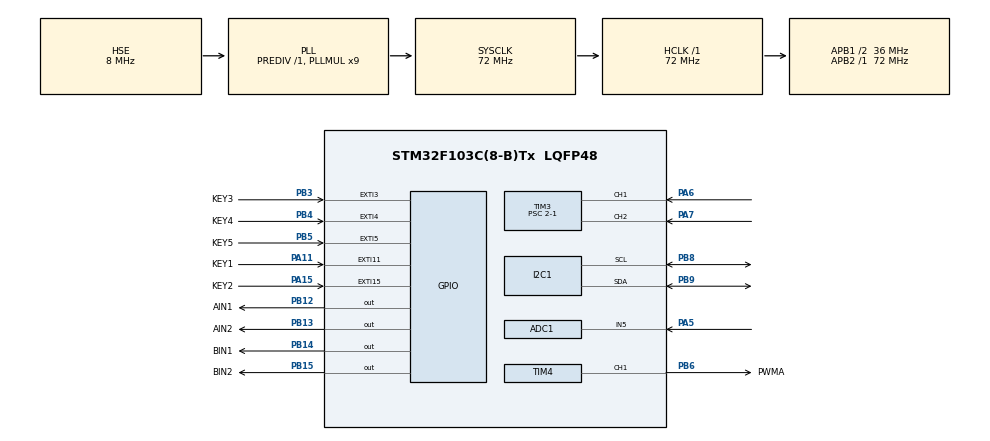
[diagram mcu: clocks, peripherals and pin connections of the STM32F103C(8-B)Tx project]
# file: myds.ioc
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ADC1.Channel-3\#ChannelRegularConversion=ADC_CHANNEL_5
ADC1.ContinuousConvMode=ENABLE
ADC1.NbrOfConversionFlag=1
ADC1.Rank-3\#ChannelRegularConversion=1
ADC1.SamplingTime-3\#ChannelRegularConversion=ADC_SAMPLETIME_1CYCLE_5
ADC1.master=1
I2C1.I2C_Mode=I2C_Fast
Mcu.Family=STM32F1
Mcu.Name=STM32F103C(8-B)Tx
Mcu.Package=LQFP48
NVIC.EXTI15_10_IRQn=true\:0\:0\:false\:false\:true\:true\:true\:true
NVIC.EXTI3_IRQn=true\:0\:0\:false\:false\:true\:true\:true\:true
NVIC.EXTI4_IRQn=true\:0\:0\:false\:false\:true\:true\:true\:true
NVIC.EXTI9_5_IRQn=true\:0\:0\:false\:false\:true\:true\:true\:true
NVIC.PriorityGroup=NVIC_PRIORITYGROUP_4
NVIC.TIM2_IRQn=true\:0\:0\:false\:false\:true\:true\:true\:true
PA11.GPIO_Label=KEY1
PA11.GPIO_ModeDefaultEXTI=GPIO_MODE_IT_FALLING
PA11.GPIO_PuPd=GPIO_PULLUP
PA11.Signal=GPXTI11
PA13.Mode=Serial_Wire
PA13.Signal=SYS_JTMS-SWDIO
PA14.Mode=Serial_Wire
PA14.Signal=SYS_JTCK-SWCLK
PA15.GPIO_Label=KEY2
PA15.GPIO_ModeDefaultEXTI=GPIO_MODE_IT_FALLING
PA15.GPIO_PuPd=GPIO_PULLUP
PA15.Signal=GPXTI15
PA5.Signal=ADCx_IN5
PA6.Signal=S_TIM3_CH1
PA7.Signal=S_TIM3_CH2
PB12.GPIO_Label=AIN1
PB12.Signal=GPIO_Output
PB13.GPIO_Label=AIN2
PB13.Signal=GPIO_Output
PB14.GPIO_Label=BIN1
PB14.Signal=GPIO_Output
PB15.GPIO_Label=BIN2
PB15.Signal=GPIO_Output
PB3.GPIO_Label=KEY3
PB3.GPIO_ModeDefaultEXTI=GPIO_MODE_IT_FALLING
PB3.GPIO_PuPd=GPIO_PULLUP
PB3.Signal=GPXTI3
PB4.GPIO_Label=KEY4
PB4.GPIO_ModeDefaultEXTI=GPIO_MODE_IT_FALLING
PB4.GPIO_PuPd=GPIO_PULLUP
PB4.Signal=GPXTI4
PB5.GPIO_Label=KEY5
PB5.GPIO_ModeDefaultEXTI=GPIO_MODE_IT_FALLING
PB5.GPIO_PuPd=GPIO_PULLUP
PB5.Signal=GPXTI5
PB6.GPIO_Label=PWMA
PB6.Signal=S_TIM4_CH1
PB8.Mode=I2C
PB8.Signal=I2C1_SCL
PB9.Mode=I2C
PB9.Signal=I2C1_SDA
PD0-OSC_IN.Mode=HSE-External-Oscillator
PD0-OSC_IN.Signal=RCC_OSC_IN
PD1-OSC_OUT.Mode=HSE-External-Oscillator
PD1-OSC_OUT.Signal=RCC_OSC_OUT
ProjectManager.HeapSize=0x200
ProjectManager.StackSize=0x400
ProjectManager.TargetToolchain=STM32CubeIDE
RCC.ADCPresc=RCC_ADCPCLK2_DIV6
RCC.AHBFreq_Value=72000000
RCC.APB1CLKDivider=RCC_HCLK_DIV2
RCC.APB1Freq_Value=36000000
RCC.APB1TimFreq_Value=72000000
RCC.APB2Freq_Value=72000000
RCC.APB2TimFreq_Value=72000000
RCC.HCLKFreq_Value=72000000
RCC.PLLMUL=RCC_PLL_MUL9
RCC.PLLSourceVirtual=RCC_PLLSOURCE_HSE
RCC.SYSCLKFreq_VALUE=72000000
RCC.SYSCLKSource=RCC_SYSCLKSOURCE_PLLCLK
RCC.USBFreq_Value=72000000
SH.ADCx_IN5.0=ADC1_IN5,IN5
SH.S_TIM3_CH1.0=TIM3_CH1,Encoder_Interface
SH.S_TIM3_CH2.0=TIM3_CH2,Encoder_Interface
SH.S_TIM4_CH1.0=TIM4_CH1,PWM Generation1 CH1
TIM2.Period=100-1
TIM2.Prescaler=7200-1
TIM3.EncoderMode=TIM_ENCODERMODE_TI12
TIM3.IC2Polarity=TIM_ICPOLARITY_FALLING
TIM3.Prescaler=2-1
TIM4.Channel-PWM\ Generation1\ CH1=TIM_CHANNEL_1
TIM4.Period=7200-1
TIM4.Pulse-PWM\ Generation1\ CH1=7000
VP_TIM2_VS_ClockSourceINT.Mode=Internal
VP_TIM4_VS_ClockSourceINT.Mode=Internal
board=custom

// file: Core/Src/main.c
/* USER CODE BEGIN Header */
/**
  ******************************************************************************
  * @file           : main.c
  * @brief          : Main program body
  ******************************************************************************
  * @attention
  *
  * Copyright (c) 2025 STMicroelectronics.
  * All rights reserved.
  *
  * This software is licensed under terms that can be found in the LICENSE file
  * in the root directory of this software component.
  * If no LICENSE file comes with this software, it is provided AS-IS.
  *
  ******************************************************************************
  */
/* USER CODE END Header */
#include "main.h"
#include "adc.h"
#include "i2c.h"
#include "tim.h"
#include "gpio.h"

/* USER CODE BEGIN Includes */
#include "oled.h"
#include "font.h"
#include <stdio.h>
#include "motor.h"
#include "encoder.h"
#include <string.h>
#include "UI.h"
#include "PID.h"

/* USER CODE END Includes */

/* USER CODE BEGIN PV */
extern PID_InitTypeDef Turn_PID1;
extern PID_InitTypeDef Turn_PID2;
extern float Transform_adc(float Value);

//编码
char message_encoder[20] = "";
int Encoder_Cnt = 0;
float Encoder_Angle = 0;
int Encoder_Integral = 0;
float encoder_result = 0;

//角度传感
char message_adc[20] = "";
uint32_t adc_value = 0;
float adc_result = 0;
uint16_t adc[20] = {0};
//UI
extern int is_mode;
extern int mode_flag;
extern int flag;
extern int key;
char message_key[20] = "";
int currentkey = 0;
char message[20] = "";
int KEY = 0;
int menu_flag = 0;
char message_0[20] = "";
char message_sum[20] = "";
char message_4[20] = "";
int t_new = 1;
/* USER CODE END PV */

void SystemClock_Config(void);

/* USER CODE BEGIN 0 */
uint16_t ADC_Read(void)
{
  int sum = 0, max = 0, min = 4095,adc_result = 0;
  uint8_t i=0;
  HAL_ADC_Start(&hadc1);     //启动ADC转换
  HAL_ADC_PollForConversion(&hadc1, 12);
  for(i=1;i<=5;i++)
  {
    adc[i] = HAL_ADC_GetValue(&hadc1);
    sum += adc[i];
    if(adc[i] > max) max = adc[i];
    if(adc[i] < min) min = adc[i];
  }
  adc_result = (sum - max - min) / 3.0;
  return adc_result;
}

float Transform_adc(float Value) {
  float result = 0;
  if (Value > 0 && Value < 2090) {
    result = -Value / 4095 * 360 + 3;//+2
  }
  else if (Value >2090 && Value < 4095) {
    result = 360 - Value / 4095 * 360 + 3;  //+3
  }
  else if (Value == 0) {
    result = 0;
  }
  // else if (Value == 2050) {
  //   result = 180;
  // }
  // else if (Value == 3090) {
  //   result = 90;
  // }
  // else if (Value == 1040) {
  //   result = -90;
  // }
  return result;
}

float Transform_encoder(float Encoder_Angle) {
  float result = 0;
  if (Encoder_Angle > 180 && Encoder_Angle < 360) {
    result = Encoder_Angle - 360;
  }
  else if (Encoder_Angle < -180 && Encoder_Angle > -360) {
    result = Encoder_Angle + 360;
  }
  else {
    result = Encoder_Angle;
  }
  return result;
}

void HAL_GPIO_EXTI_Callback(uint16_t GPIO_Pin)
{
    if (GPIO_Pin == KEY1_Pin){
      if (currentkey == 1) {
        Load(1000);
      }
     else {
       KEY = KEY + 1;
     }
    }
    else if (GPIO_Pin == KEY2_Pin) {
      if (currentkey == 1) {
      Load(-1000);
      }
      else {
        KEY = KEY + 2;
      }
  }
    else if (GPIO_Pin == KEY3_Pin) {
      if (currentkey == 1) {
        Load(0);
      }
      else {
        KEY = KEY + 3;
      }
    }
    else if (GPIO_Pin ==KEY4_Pin) {
      currentkey = KEY;
      KEY = 0;
    }
    else if (GPIO_Pin == KEY5_Pin) {
      KEY = 0;
      currentkey = 0;
      Load(0);
    }
}

void HAL_TIM_PeriodElapsedCallback(TIM_HandleTypeDef *htim) {
  if (htim == &htim2) {
    adc_value = ADC_Read();
    Encoder_Cnt = Read_Speed(&htim3);
    Encoder_Integral += Encoder_Cnt;
    Encoder_Angle = Encoder_Integral/1.5;
    if (Encoder_Integral > 540 || Encoder_Integral < -540) {
      Encoder_Integral = Encoder_Integral % 540;
    }
    adc_result = Transform_adc(adc_value);
    encoder_result = Transform_encoder(Encoder_Angle);
    if (currentkey == 4 || currentkey == 8) {
      PID_Calculate(&Turn_PID1, 2090 - Encoder_Angle, adc_value);
      PID_Calculate(&Turn_PID2, Encoder_Cnt+Turn_PID1.PID_Out, 0);
      Load(Turn_PID2.PID_Out);
    }
  }
}
/* USER CODE END 0 */

int main(void)
{

  /* MCU Configuration--------------------------------------------------------*/

  /* Reset of all peripherals, Initializes the Flash interface and the Systick. */
  HAL_Init();

  /* Configure the system clock */
  SystemClock_Config();

  /* Initialize all configured peripherals */
  MX_GPIO_Init();
  MX_I2C1_Init();
  MX_TIM4_Init();
  MX_TIM3_Init();
  MX_TIM2_Init();
  MX_ADC1_Init();
  /* USER CODE BEGIN 2 */
  OLED_Init();
  HAL_TIM_PWM_Start(&htim4, TIM_CHANNEL_1);
  HAL_TIM_Base_Start_IT(&htim2);
  HAL_TIM_Encoder_Start(&htim3, TIM_CHANNEL_ALL);
  HAL_ADCEx_Calibration_Start(&hadc1);
  HAL_ADC_Start(&hadc1);     //启动ADC转换
  HAL_ADC_PollForConversion(&hadc1, HAL_MAX_DELAY);
  PID_Init(&Turn_PID1, -2.5, 0, -2.9, 0, 1000);   // -0.28  -1
  PID_Init(&Turn_PID2, 2200, 0, 340, 0, 7200);
  // Load(0);             //220.5           100
  /* USER CODE END 2 */

  /* Infinite loop */
  /* USER CODE BEGIN WHILE */
  while (1)
  {
    // OLED_NewFrame();
    // sprintf(message_key, "curmode: %d", currentkey);
    // OLED_PrintString(0, 0, message_key, &font16x16, OLED_COLOR_NORMAL);

    // OLED_ShowFrame();
    if (currentkey!= 8) {
      OLED_NewFrame();
      sprintf(message, "当前模式:%d", currentkey);
      sprintf(message_sum, "累计求和:%d", KEY);
      OLED_PrintString(0, 0, message, &font15x15, OLED_COLOR_NORMAL);
      OLED_PrintString(0, 31, message_sum, &font15x15, OLED_COLOR_NORMAL);
    }
    if (currentkey== 0) {
      sprintf(message_0, "已暂停");
      OLED_PrintString(0, 16, message_0, &font15x15, OLED_COLOR_NORMAL);
    }
    if (currentkey==1 ) {
      OLED_PrintString(0, 0, "Task1_process", &font16x16, OLED_COLOR_NORMAL);
      OLED_PrintString(0, 17, "1正转2反转3暂停", &font15x15, OLED_COLOR_NORMAL);
      sprintf(message_encoder, "angle: %.2f", encoder_result);
      OLED_PrintString(0, 33, message_encoder, &font16x16, OLED_COLOR_NORMAL);
    }
    if (currentkey==2 || currentkey==3) {
      sprintf(message_adc, "摆杆角度: %.2f", adc_result);
      OLED_PrintString(0, 17, message_adc, &font15x15, OLED_COLOR_NORMAL);
    }
    if(currentkey==4) {
      sprintf(message_4,"倒立平衡状态");
      OLED_PrintString(0, 30, message_4, &font15x15, OLED_COLOR_NORMAL);
    }
    if(currentkey==8) {
      if(t_new)
      {
        t_new--;
        OLED_NewFrame();
      }
    }
    OLED_ShowFrame();

    // OLED_NewFrame();
    // OLED_State();
    // OLED_ShowFrame();
    /* USER CODE END WHILE */

  }
}

void SystemClock_Config(void)
{
  RCC_OscInitTypeDef RCC_OscInitStruct = {0};
  RCC_ClkInitTypeDef RCC_ClkInitStruct = {0};
  RCC_PeriphCLKInitTypeDef PeriphClkInit = {0};

  /** Initializes the RCC Oscillators according to the specified parameters
  * in the RCC_OscInitTypeDef structure.
  */
  RCC_OscInitStruct.OscillatorType = RCC_OSCILLATORTYPE_HSE;
  RCC_OscInitStruct.HSEState = RCC_HSE_ON;
  RCC_OscInitStruct.HSEPredivValue = RCC_HSE_PREDIV_DIV1;
  RCC_OscInitStruct.HSIState = RCC_HSI_ON;
  RCC_OscInitStruct.PLL.PLLState = RCC_PLL_ON;
  RCC_OscInitStruct.PLL.PLLSource = RCC_PLLSOURCE_HSE;
  RCC_OscInitStruct.PLL.PLLMUL = RCC_PLL_MUL9;
  if (HAL_RCC_OscConfig(&RCC_OscInitStruct) != HAL_OK)
  {
    Error_Handler();
  }

  /** Initializes the CPU, AHB and APB buses clocks
  */
  RCC_ClkInitStruct.ClockType = RCC_CLOCKTYPE_HCLK|RCC_CLOCKTYPE_SYSCLK
                              |RCC_CLOCKTYPE_PCLK1|RCC_CLOCKTYPE_PCLK2;
  RCC_ClkInitStruct.SYSCLKSource = RCC_SYSCLKSOURCE_PLLCLK;
  RCC_ClkInitStruct.AHBCLKDivider = RCC_SYSCLK_DIV1;
  RCC_ClkInitStruct.APB1CLKDivider = RCC_HCLK_DIV2;
  RCC_ClkInitStruct.APB2CLKDivider = RCC_HCLK_DIV1;

  if (HAL_RCC_ClockConfig(&RCC_ClkInitStruct, FLASH_LATENCY_2) != HAL_OK)
  {
    Error_Handler();
  }
  PeriphClkInit.PeriphClockSelection = RCC_PERIPHCLK_ADC;
  PeriphClkInit.AdcClockSelection = RCC_ADCPCLK2_DIV6;
  if (HAL_RCCEx_PeriphCLKConfig(&PeriphClkInit) != HAL_OK)
  {
    Error_Handler();
  }
}

void Error_Handler(void) {
    __disable_irq();
    while (1)
    {
    }
  }
